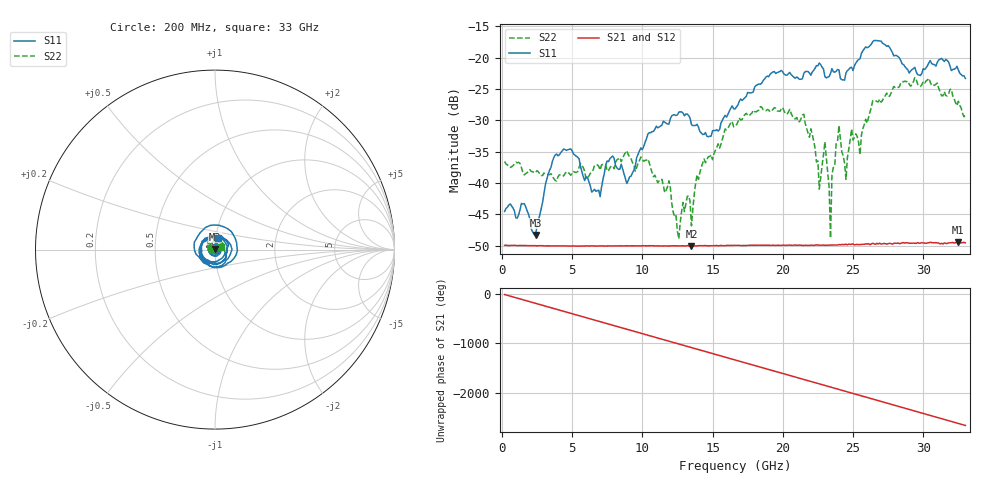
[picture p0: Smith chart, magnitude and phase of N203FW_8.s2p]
# GHZ S RI R 50
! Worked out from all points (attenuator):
!   329 points, 200 MHz to 33 GHz, reference 50 ohm
!   highest |S21| = -49.45 dB at 32.5 GHz (marker M1); lowest = -50.1 dB at 13.5 GHz (marker M2)
!   lowest |S11| = -48.3 dB at 2.4 GHz (marker M3), VSWR 1.01, Z = 50.2 + j0.327 ohm
!   |S11| at or under -10 dB: start of sweep to end of sweep
!   |S22| runs from -48.9 to -23.2 dB; largest |S21 - S12| = 8.8e-05
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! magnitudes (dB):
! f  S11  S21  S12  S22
! 200 MHz  -44.5  -50.0  -49.9  -36.6
! 2.4 GHz  -48.3  -50.0  -50.0  -38.4
! 3.8 GHz  -35.5  -50.1  -50.0  -39.6
! 5.7 GHz  -38.2  -50.1  -50.1  -37.2
! 8.9 GHz  -40.1  -50.0  -50.0  -34.8
! 11.2 GHz  -31.1  -50.1  -50.0  -39.7
! 12.6 GHz  -28.7  -50.1  -50.0  -48.9
! 13.5 GHz  -30.7  -50.1  -50.1  -46.8
! 13.9 GHz  -30.6  -50.0  -50.0  -38.7
! 16.6 GHz  -28.2  -49.9  -50.0  -31.0
! 22.1 GHz  -22.3  -49.9  -49.9  -32.3
! 22.6 GHz  -20.8  -49.9  -49.9  -41.0
! 23 GHz  -23.0  -50.0  -49.9  -33.4
! 23.4 GHz  -22.5  -49.9  -49.9  -48.8
! 23.5 GHz  -21.7  -49.9  -49.9  -38.7
! 24 GHz  -21.9  -49.8  -49.9  -30.8
! 24.5 GHz  -22.4  -49.8  -49.8  -39.4
! 24.9 GHz  -21.5  -49.8  -49.7  -31.4
! 25.5 GHz  -20.2  -49.8  -49.8  -35.5
! 27.6 GHz  -18.3  -49.6  -49.6  -26.2
! 32.5 GHz  -22.0  -49.5  -49.4  -26.9
! 33 GHz  -23.3  -49.6  -49.6  -29.1
